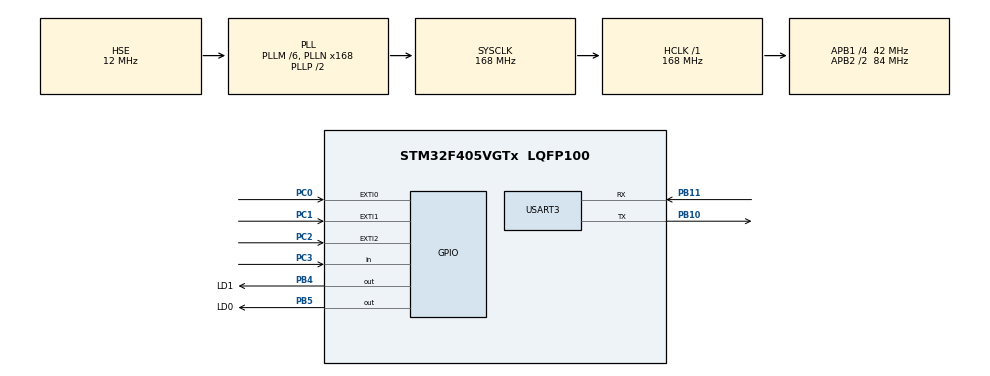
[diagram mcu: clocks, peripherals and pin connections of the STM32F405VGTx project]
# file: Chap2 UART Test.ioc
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Mcu.Family=STM32F4
Mcu.Name=STM32F405VGTx
Mcu.Package=LQFP100
NVIC.EXTI0_IRQn=true\:0\:0\:false\:true\:true\:1\:true\:true\:true
NVIC.EXTI1_IRQn=true\:0\:0\:false\:true\:true\:2\:true\:true\:true
NVIC.EXTI2_IRQn=true\:0\:0\:false\:true\:true\:3\:true\:true\:true
NVIC.PriorityGroup=NVIC_PRIORITYGROUP_4
NVIC.USART3_IRQn=true\:0\:0\:false\:true\:true\:4\:true\:true\:true
PB10.Mode=Asynchronous
PB10.Signal=USART3_TX
PB11.Mode=Asynchronous
PB11.Signal=USART3_RX
PB4.GPIO_Label=LD1
PB4.Signal=GPIO_Output
PB5.GPIO_Label=LD0
PB5.Signal=GPIO_Output
PC0.GPIO_ModeDefaultEXTI=GPIO_MODE_IT_FALLING
PC0.Signal=GPXTI0
PC1.GPIO_ModeDefaultEXTI=GPIO_MODE_IT_FALLING
PC1.Signal=GPXTI1
PC2.GPIO_ModeDefaultEXTI=GPIO_MODE_IT_FALLING
PC2.Signal=GPXTI2
PC3.Signal=GPIO_Input
PH0-OSC_IN.Mode=HSE-External-Oscillator
PH0-OSC_IN.Signal=RCC_OSC_IN
PH1-OSC_OUT.Mode=HSE-External-Oscillator
PH1-OSC_OUT.Signal=RCC_OSC_OUT
ProjectManager.HeapSize=0x200
ProjectManager.StackSize=0x400
ProjectManager.TargetToolchain=STM32CubeIDE
RCC.48MHZClocksFreq_Value=84000000
RCC.AHBFreq_Value=168000000
RCC.APB1CLKDivider=RCC_HCLK_DIV4
RCC.APB1Freq_Value=42000000
RCC.APB1TimFreq_Value=84000000
RCC.APB2CLKDivider=RCC_HCLK_DIV2
RCC.APB2Freq_Value=84000000
RCC.APB2TimFreq_Value=168000000
RCC.CortexFreq_Value=168000000
RCC.HCLKFreq_Value=168000000
RCC.HSE_VALUE=12000000
RCC.HSI_VALUE=16000000
RCC.LSE_VALUE=32768
RCC.PLLM=6
RCC.PLLN=168
RCC.PLLSourceVirtual=RCC_PLLSOURCE_HSE
RCC.SYSCLKFreq_VALUE=168000000
RCC.SYSCLKSource=RCC_SYSCLKSOURCE_PLLCLK
RCC.VCOOutputFreq_Value=336000000
USART3.VirtualMode=VM_ASYNC
board=custom

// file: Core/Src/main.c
/* USER CODE BEGIN Header */
/**
  ******************************************************************************
  * @file           : main.c
  * @brief          : Main program body
  ******************************************************************************
  * @attention
  *
  * Copyright (c) 2025 STMicroelectronics.
  * All rights reserved.
  *
  * This software is licensed under terms that can be found in the LICENSE file
  * in the root directory of this software component.
  * If no LICENSE file comes with this software, it is provided AS-IS.
  *
  ******************************************************************************
  */
/* USER CODE END Header */
#include "main.h"
#include "usart.h"
#include "gpio.h"

/* USER CODE BEGIN Includes */
#include "stdio.h"

/* USER CODE END Includes */

/* USER CODE BEGIN PM */
int _write(int file, char* p, int len){
	HAL_UART_Transmit(&huart3, p, len, 10);
	return len;
}

/* USER CODE END PM */

/* USER CODE BEGIN PV */
uint8_t rx_data = 0;

/* USER CODE END PV */

void SystemClock_Config(void);
static void MX_NVIC_Init(void);

int main(void)
{

  /* MCU Configuration--------------------------------------------------------*/

  /* Reset of all peripherals, Initializes the Flash interface and the Systick. */
  HAL_Init();

  /* Configure the system clock */
  SystemClock_Config();

  /* Initialize all configured peripherals */
  MX_GPIO_Init();
  MX_USART3_UART_Init();

  /* Initialize interrupts */
  MX_NVIC_Init();
  /* USER CODE BEGIN 2 */
  uint8_t i = 314;
  float f = 3.14;

//  HAL_UART_Receive_IT(&huart3, &rx_data, 1);

  /* USER CODE END 2 */

  /* Infinite loop */
  /* USER CODE BEGIN WHILE */
  while (1)
  {
//	  printf("a\n"); // 문자 출력 테스트
//	  printf("apple\n"); // 문자열 출력 테스트
//	  printf("%d\n", i); // 정수 출력 테스트
//	  printf("%f\n", f); // 실수 출력 테스트
//	  HAL_Delay(1000);

//	  uint8_t rx_data = 0;
//	  if(HAL_UART_Receive(&huart3, &rx_data, 1, 1000) == HAL_OK)
//		  HAL_UART_Transmit(&huart3, &rx_data, 1, 1000);
//	  HAL_Delay(10);

	  uint8_t rx_data = 0;
	  if(HAL_UART_Receive(&huart3, &rx_data, 1, 1000) == HAL_OK) {
		  if(rx_data == 'a') HAL_GPIO_WritePin(LD0_GPIO_Port, LD0_Pin, GPIO_PIN_SET);
		  else if(rx_data == 'b') HAL_GPIO_WritePin(LD0_GPIO_Port, LD0_Pin, GPIO_PIN_RESET);
	  }

	  HAL_Delay(10);
    /* USER CODE END WHILE */

  }
}

void SystemClock_Config(void)
{
  RCC_OscInitTypeDef RCC_OscInitStruct = {0};
  RCC_ClkInitTypeDef RCC_ClkInitStruct = {0};

  /** Configure the main internal regulator output voltage
  */
  __HAL_RCC_PWR_CLK_ENABLE();
  __HAL_PWR_VOLTAGESCALING_CONFIG(PWR_REGULATOR_VOLTAGE_SCALE1);

  /** Initializes the RCC Oscillators according to the specified parameters
  * in the RCC_OscInitTypeDef structure.
  */
  RCC_OscInitStruct.OscillatorType = RCC_OSCILLATORTYPE_HSE;
  RCC_OscInitStruct.HSEState = RCC_HSE_ON;
  RCC_OscInitStruct.PLL.PLLState = RCC_PLL_ON;
  RCC_OscInitStruct.PLL.PLLSource = RCC_PLLSOURCE_HSE;
  RCC_OscInitStruct.PLL.PLLM = 6;
  RCC_OscInitStruct.PLL.PLLN = 168;
  RCC_OscInitStruct.PLL.PLLP = RCC_PLLP_DIV2;
  RCC_OscInitStruct.PLL.PLLQ = 4;
  if (HAL_RCC_OscConfig(&RCC_OscInitStruct) != HAL_OK)
  {
    Error_Handler();
  }

  /** Initializes the CPU, AHB and APB buses clocks
  */
  RCC_ClkInitStruct.ClockType = RCC_CLOCKTYPE_HCLK|RCC_CLOCKTYPE_SYSCLK
                              |RCC_CLOCKTYPE_PCLK1|RCC_CLOCKTYPE_PCLK2;
  RCC_ClkInitStruct.SYSCLKSource = RCC_SYSCLKSOURCE_PLLCLK;
  RCC_ClkInitStruct.AHBCLKDivider = RCC_SYSCLK_DIV1;
  RCC_ClkInitStruct.APB1CLKDivider = RCC_HCLK_DIV4;
  RCC_ClkInitStruct.APB2CLKDivider = RCC_HCLK_DIV2;

  if (HAL_RCC_ClockConfig(&RCC_ClkInitStruct, FLASH_LATENCY_5) != HAL_OK)
  {
    Error_Handler();
  }
}

/**
  * @brief NVIC Configuration.
  * @retval None
  */
static void MX_NVIC_Init(void)
{
  /* EXTI0_IRQn interrupt configuration */
  HAL_NVIC_SetPriority(EXTI0_IRQn, 0, 0);
  HAL_NVIC_EnableIRQ(EXTI0_IRQn);
  /* EXTI1_IRQn interrupt configuration */
  HAL_NVIC_SetPriority(EXTI1_IRQn, 0, 0);
  HAL_NVIC_EnableIRQ(EXTI1_IRQn);
  /* EXTI2_IRQn interrupt configuration */
  HAL_NVIC_SetPriority(EXTI2_IRQn, 0, 0);
  HAL_NVIC_EnableIRQ(EXTI2_IRQn);
  /* USART3_IRQn interrupt configuration */
  HAL_NVIC_SetPriority(USART3_IRQn, 0, 0);
  HAL_NVIC_EnableIRQ(USART3_IRQn);
}

/* USER CODE BEGIN 4 */
void HAL_GPIO_EXTI_Callback(uint16_t GPIO_Pin)
{
	if(GPIO_Pin == GPIO_PIN_0) {

	}
	else if(GPIO_Pin == GPIO_PIN_1) {

	}
	else if(GPIO_Pin == GPIO_PIN_2) {

	}
}

void HAL_UART_RxCpltCallback(UART_HandleTypeDef *huart)
{
	if(huart->Instance == USART3) {
		HAL_UART_Receive_IT(&huart3, &rx_data, 1);
		HAL_UART_Transmit(&huart3, &rx_data, 1, 1000);
	}
}

/* USER CODE END 4 */

void Error_Handler(void)
{
  __disable_irq();
  while (1)
  {
  }
}
